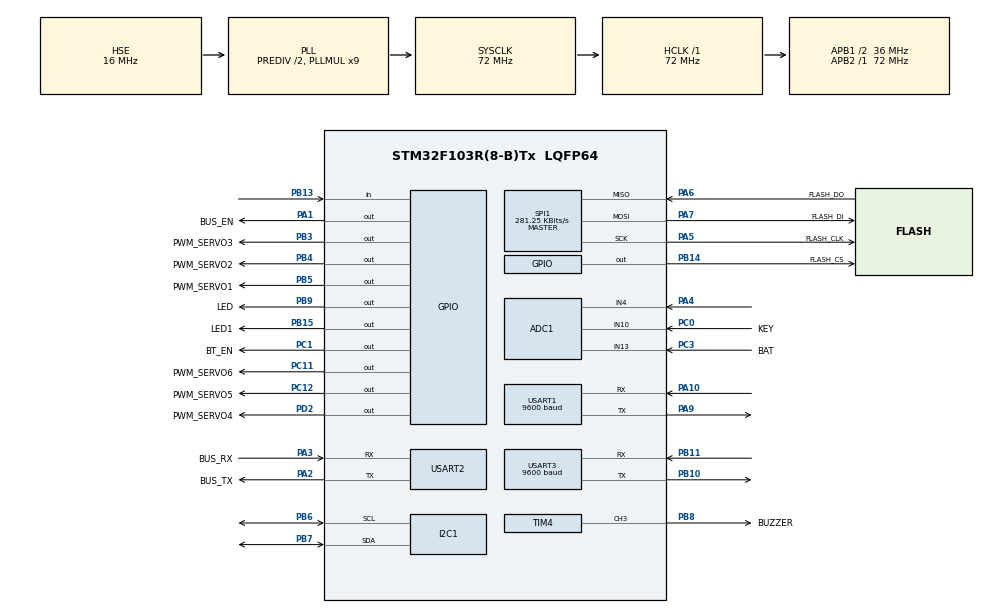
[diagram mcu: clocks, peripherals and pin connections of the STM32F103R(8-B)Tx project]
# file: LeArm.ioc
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ADC1.Channel-0\#ChannelRegularConversion=ADC_CHANNEL_13
ADC1.Channel-1\#ChannelRegularConversion=ADC_CHANNEL_10
ADC1.Channel-2\#ChannelRegularConversion=ADC_CHANNEL_4
ADC1.ContinuousConvMode=DISABLE
ADC1.DataAlign=ADC_DATAALIGN_RIGHT
ADC1.NbrOfConversion=3
ADC1.NbrOfConversionFlag=1
ADC1.Rank-0\#ChannelRegularConversion=1
ADC1.Rank-1\#ChannelRegularConversion=2
ADC1.Rank-2\#ChannelRegularConversion=3
ADC1.SamplingTime-0\#ChannelRegularConversion=ADC_SAMPLETIME_239CYCLES_5
ADC1.SamplingTime-1\#ChannelRegularConversion=ADC_SAMPLETIME_239CYCLES_5
ADC1.SamplingTime-2\#ChannelRegularConversion=ADC_SAMPLETIME_239CYCLES_5
ADC1.master=1
Dma.ADC1.1.Direction=DMA_PERIPH_TO_MEMORY
Dma.ADC1.1.Instance=DMA1_Channel1
Dma.ADC1.1.MemDataAlignment=DMA_MDATAALIGN_HALFWORD
Dma.ADC1.1.MemInc=DMA_MINC_ENABLE
Dma.ADC1.1.Mode=DMA_CIRCULAR
Dma.ADC1.1.PeriphDataAlignment=DMA_PDATAALIGN_HALFWORD
Dma.ADC1.1.PeriphInc=DMA_PINC_DISABLE
Dma.ADC1.1.Priority=DMA_PRIORITY_LOW
Dma.I2C1_RX.2.Direction=DMA_PERIPH_TO_MEMORY
Dma.I2C1_RX.2.Instance=DMA1_Channel7
Dma.I2C1_RX.2.MemDataAlignment=DMA_MDATAALIGN_BYTE
Dma.I2C1_RX.2.MemInc=DMA_MINC_ENABLE
Dma.I2C1_RX.2.Mode=DMA_NORMAL
Dma.I2C1_RX.2.PeriphDataAlignment=DMA_PDATAALIGN_BYTE
Dma.I2C1_RX.2.PeriphInc=DMA_PINC_DISABLE
Dma.I2C1_RX.2.Priority=DMA_PRIORITY_VERY_HIGH
Dma.Request0=USART1_RX
Dma.Request1=ADC1
Dma.Request2=I2C1_RX
Dma.Request3=USART3_RX
Dma.USART1_RX.0.Direction=DMA_PERIPH_TO_MEMORY
Dma.USART1_RX.0.Instance=DMA1_Channel5
Dma.USART1_RX.0.MemDataAlignment=DMA_MDATAALIGN_BYTE
Dma.USART1_RX.0.MemInc=DMA_MINC_ENABLE
Dma.USART1_RX.0.Mode=DMA_NORMAL
Dma.USART1_RX.0.PeriphDataAlignment=DMA_PDATAALIGN_BYTE
Dma.USART1_RX.0.PeriphInc=DMA_PINC_DISABLE
Dma.USART1_RX.0.Priority=DMA_PRIORITY_LOW
Dma.USART3_RX.3.Direction=DMA_PERIPH_TO_MEMORY
Dma.USART3_RX.3.Instance=DMA1_Channel3
Dma.USART3_RX.3.MemDataAlignment=DMA_MDATAALIGN_BYTE
Dma.USART3_RX.3.MemInc=DMA_MINC_ENABLE
Dma.USART3_RX.3.Mode=DMA_NORMAL
Dma.USART3_RX.3.PeriphDataAlignment=DMA_PDATAALIGN_BYTE
Dma.USART3_RX.3.PeriphInc=DMA_PINC_DISABLE
Dma.USART3_RX.3.Priority=DMA_PRIORITY_LOW
I2C1.I2C_Mode=I2C_Standard
Mcu.Family=STM32F1
Mcu.Name=STM32F103R(8-B)Tx
Mcu.Package=LQFP64
NVIC.DMA1_Channel1_IRQn=true\:0\:0\:false\:false\:true\:false\:true\:true
NVIC.DMA1_Channel3_IRQn=true\:0\:0\:false\:false\:true\:false\:true\:true
NVIC.DMA1_Channel5_IRQn=true\:0\:0\:false\:false\:true\:false\:true\:true
NVIC.DMA1_Channel7_IRQn=true\:0\:0\:false\:true\:true\:4\:false\:true\:true
NVIC.I2C1_EV_IRQn=true\:0\:0\:false\:false\:true\:true\:true\:true
NVIC.PriorityGroup=NVIC_PRIORITYGROUP_4
NVIC.TIM3_IRQn=true\:0\:0\:true\:false\:true\:true\:false\:true
NVIC.USART1_IRQn=true\:3\:0\:true\:true\:true\:1\:true\:true\:true
NVIC.USART2_IRQn=true\:2\:0\:true\:true\:true\:2\:true\:false\:true
NVIC.USART3_IRQn=true\:1\:0\:true\:true\:true\:3\:true\:true\:true
PA1.GPIO_Label=BUS_EN
PA1.GPIO_Speed=GPIO_SPEED_FREQ_HIGH
PA1.PinState=GPIO_PIN_SET
PA1.Signal=GPIO_Output
PA10.Mode=Asynchronous
PA10.Signal=USART1_RX
PA13.Mode=Serial_Wire
PA13.Signal=SYS_JTMS-SWDIO
PA14.Mode=Serial_Wire
PA14.Signal=SYS_JTCK-SWCLK
PA2.GPIO_Label=BUS_TX
PA2.Mode=Asynchronous
PA2.Signal=USART2_TX
PA3.GPIO_Label=BUS_RX
PA3.Mode=Asynchronous
PA3.Signal=USART2_RX
PA4.Signal=ADCx_IN4
PA5.GPIO_Label=FLASH_CLK
PA5.GPIO_Speed=GPIO_SPEED_FREQ_HIGH
PA5.Mode=Full_Duplex_Master
PA5.Signal=SPI1_SCK
PA6.GPIO_Label=FLASH_DO
PA6.GPIO_PuPd=GPIO_NOPULL
PA6.Mode=Full_Duplex_Master
PA6.Signal=SPI1_MISO
PA7.GPIO_Label=FLASH_DI
PA7.GPIO_Speed=GPIO_SPEED_FREQ_HIGH
PA7.Mode=Full_Duplex_Master
PA7.Signal=SPI1_MOSI
PA9.Mode=Asynchronous
PA9.Signal=USART1_TX
PB10.Mode=Asynchronous
PB10.Signal=USART3_TX
PB11.Mode=Asynchronous
PB11.Signal=USART3_RX
PB13.Signal=GPIO_Input
PB14.GPIO_Label=FLASH_CS
PB14.GPIO_PuPd=GPIO_PULLUP
PB14.GPIO_Speed=GPIO_SPEED_FREQ_LOW
PB14.PinState=GPIO_PIN_SET
PB14.Signal=GPIO_Output
PB15.GPIO_Label=LED1
PB15.PinState=GPIO_PIN_SET
PB15.Signal=GPIO_Output
PB3.GPIO_Label=PWM_SERVO3
PB3.GPIO_Speed=GPIO_SPEED_FREQ_HIGH
PB3.Signal=GPIO_Output
PB4.GPIO_Label=PWM_SERVO2
PB4.GPIO_Speed=GPIO_SPEED_FREQ_HIGH
PB4.Signal=GPIO_Output
PB5.GPIO_Label=PWM_SERVO1
PB5.GPIO_Speed=GPIO_SPEED_FREQ_HIGH
PB5.Signal=GPIO_Output
PB6.Mode=I2C
PB6.Signal=I2C1_SCL
PB7.Mode=I2C
PB7.Signal=I2C1_SDA
PB8.GPIO_Label=BUZZER
PB8.Signal=S_TIM4_CH3
PB9.GPIO_Label=LED
PB9.GPIO_ModeDefaultOutputPP=GPIO_MODE_OUTPUT_PP
PB9.GPIO_PuPd=GPIO_PULLUP
PB9.PinState=GPIO_PIN_SET
PB9.Signal=GPIO_Output
PC0.GPIO_Label=KEY
PC0.Signal=ADCx_IN10
PC1.GPIO_Label=BT_EN
PC1.GPIO_ModeDefaultOutputPP=GPIO_MODE_OUTPUT_PP
PC1.GPIO_PuPd=GPIO_NOPULL
PC1.GPIO_Speed=GPIO_SPEED_FREQ_LOW
PC1.PinState=GPIO_PIN_SET
PC1.Signal=GPIO_Output
PC11.GPIO_Label=PWM_SERVO6
PC11.GPIO_Speed=GPIO_SPEED_FREQ_HIGH
PC11.Signal=GPIO_Output
PC12.GPIO_Label=PWM_SERVO5
PC12.GPIO_Speed=GPIO_SPEED_FREQ_HIGH
PC12.Signal=GPIO_Output
PC3.GPIO_Label=BAT
PC3.Signal=ADCx_IN13
PD0-OSC_IN.Mode=HSE-External-Oscillator
PD0-OSC_IN.Signal=RCC_OSC_IN
PD1-OSC_OUT.Mode=HSE-External-Oscillator
PD1-OSC_OUT.Signal=RCC_OSC_OUT
PD2.GPIO_Label=PWM_SERVO4
PD2.GPIO_Speed=GPIO_SPEED_FREQ_HIGH
PD2.Signal=GPIO_Output
ProjectManager.HeapSize=0x200
ProjectManager.StackSize=0x400
ProjectManager.TargetToolchain=MDK-ARM V5.32
RCC.ADCPresc=RCC_ADCPCLK2_DIV6
RCC.AHBFreq_Value=72000000
RCC.APB1CLKDivider=RCC_HCLK_DIV2
RCC.APB1Freq_Value=36000000
RCC.APB1TimFreq_Value=72000000
RCC.APB2Freq_Value=72000000
RCC.APB2TimFreq_Value=72000000
RCC.HCLKFreq_Value=72000000
RCC.HSEDivPLL=RCC_HSE_PREDIV_DIV2
RCC.HSE_VALUE=16000000
RCC.PLLMUL=RCC_PLL_MUL9
RCC.PLLSourceVirtual=RCC_PLLSOURCE_HSE
RCC.SYSCLKFreq_VALUE=72000000
RCC.SYSCLKSource=RCC_SYSCLKSOURCE_PLLCLK
RCC.USBFreq_Value=72000000
SH.ADCx_IN10.0=ADC1_IN10,IN10
SH.ADCx_IN13.0=ADC1_IN13,IN13
SH.ADCx_IN4.0=ADC1_IN4,IN4
SH.S_TIM4_CH3.0=TIM4_CH3,PWM Generation3 CH3
SPI1.BaudRatePrescaler=SPI_BAUDRATEPRESCALER_256
SPI1.CLKPhase=SPI_PHASE_1EDGE
SPI1.CLKPolarity=SPI_POLARITY_LOW
SPI1.CRCCalculation=SPI_CRCCALCULATION_DISABLE
SPI1.CalculateBaudRate=281.25 KBits/s
SPI1.Direction=SPI_DIRECTION_2LINES
SPI1.Mode=SPI_MODE_MASTER
SPI1.VirtualType=VM_MASTER
TIM3.AutoReloadPreload=TIM_AUTORELOAD_PRELOAD_ENABLE
TIM3.Channel-Output\ Compare1\ No\ Output=TIM_CHANNEL_1
TIM3.Channel-Output\ Compare2\ No\ Output=TIM_CHANNEL_2
TIM3.OC1Preload=DISABLE
TIM3.OCMode_1=TIM_OCMODE_TIMING
TIM3.Period=4999
TIM3.Prescaler=71
TIM3.Pulse-Output\ Compare1\ No\ Output=0
TIM4.AutoReloadPreload=TIM_AUTORELOAD_PRELOAD_ENABLE
TIM4.Channel-PWM\ Generation3\ CH3=TIM_CHANNEL_3
TIM4.Period=4999
TIM4.Prescaler=71
USART1.BaudRate=9600
USART1.VirtualMode=VM_ASYNC
USART2.VirtualMode=VM_ASYNC
USART3.BaudRate=9600
USART3.Mode=MODE_RX
USART3.VirtualMode=VM_ASYNC
VP_TIM3_VS_ClockSourceINT.Mode=Internal
VP_TIM3_VS_no_output1.Mode=Output Compare1 No Output
VP_TIM3_VS_no_output2.Mode=Output Compare2 No Output
board=custom

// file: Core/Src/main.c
/* USER CODE BEGIN Header */
/**
 ******************************************************************************
 * @file           : main.c
 * @brief          : Main program body
 ******************************************************************************
 * @attention
 *
 * Copyright (c) 2024 STMicroelectronics.
 * All rights reserved.
 *
 * in the root directory of this software component.
 * If no LICENSE file comes with this software, it is provided AS-IS.
 *
 ******************************************************************************
 */
/* USER CODE END Header */
#include "main.h"

#include "adc.h"
#include "dma.h"
#include "gpio.h"
#include "i2c.h"
#include "spi.h"
#include "tim.h"
#include "usart.h"

/* USER CODE BEGIN Includes */

#include "adc_sample.h"
#include "app_porting.h"
#include "buzzer.h"
#include "global.h"
#include "led.h"
#include "qmi8658.h"
#include "stdio.h"
#include "stdlib.h"

/* USER CODE END Includes */

/* USER CODE BEGIN PV */
uint8_t arm_select;
/* USER CODE END PV */

void SystemClock_Config(void);
static void MX_NVIC_Init(void);

/* USER CODE BEGIN 0 */
int fputc(int ch, FILE* f) {
    /* 采用轮询方式发鿿1字节数据，超时时间设置为无限等待 */
    HAL_UART_Transmit(&huart1, (uint8_t*)&ch, 1, HAL_MAX_DELAY);
    return ch;
}

/* USER CODE END 0 */

int main(void) {

    /* MCU Configuration--------------------------------------------------------*/

    /* Reset of all peripherals, Initializes the Flash interface and the Systick. */
    HAL_Init();

    /* Configure the system clock */
    SystemClock_Config();

    /* USER CODE BEGIN SysInit */
    __HAL_RCC_I2C1_CLK_ENABLE();
    __HAL_RCC_DMA1_CLK_ENABLE();
    /* USER CODE END SysInit */

    /* Initialize all configured peripherals */
    MX_GPIO_Init();
    MX_DMA_Init();
    MX_TIM3_Init();
    MX_USART3_UART_Init();
    MX_SPI1_Init();
    MX_USART1_UART_Init();
    MX_ADC1_Init();
    MX_I2C1_Init();
    MX_TIM4_Init();
    MX_USART2_UART_Init();

    /* Initialize interrupts */
    MX_NVIC_Init();
    /* USER CODE BEGIN 2 */
    led_init();
    buzzer_init();
    adc_sample_init();
    HAL_Delay(1000);
    robot_arm_init();
    app_init();
#ifdef MECANUM_CHASSIS
    mecanum_chassis_init();
#endif

#ifdef DIFFERENTIAL_CHASSIS
    differential_chassis_init();
#endif

    /* USER CODE END 2 */
    /* Infinite loop */
    /* USER CODE BEGIN WHILE */

    while (1) {
        /* USER CODE BEGIN 3 */
        app_handler();
        /* USER CODE END 3 */
    }
    /* USER CODE END WHILE */
}

void SystemClock_Config(void) {
    RCC_OscInitTypeDef RCC_OscInitStruct = {0};
    RCC_ClkInitTypeDef RCC_ClkInitStruct = {0};
    RCC_PeriphCLKInitTypeDef PeriphClkInit = {0};

    /** Initializes the RCC Oscillators according to the specified parameters
     * in the RCC_OscInitTypeDef structure.
     */
    RCC_OscInitStruct.OscillatorType = RCC_OSCILLATORTYPE_HSE;
    RCC_OscInitStruct.HSEState = RCC_HSE_ON;
    RCC_OscInitStruct.HSEPredivValue = RCC_HSE_PREDIV_DIV2;
    RCC_OscInitStruct.HSIState = RCC_HSI_ON;
    RCC_OscInitStruct.PLL.PLLState = RCC_PLL_ON;
    RCC_OscInitStruct.PLL.PLLSource = RCC_PLLSOURCE_HSE;
    RCC_OscInitStruct.PLL.PLLMUL = RCC_PLL_MUL9;
    if (HAL_RCC_OscConfig(&RCC_OscInitStruct) != HAL_OK) {
        Error_Handler();
    }

    /** Initializes the CPU, AHB and APB buses clocks
     */
    RCC_ClkInitStruct.ClockType = RCC_CLOCKTYPE_HCLK | RCC_CLOCKTYPE_SYSCLK | RCC_CLOCKTYPE_PCLK1 | RCC_CLOCKTYPE_PCLK2;
    RCC_ClkInitStruct.SYSCLKSource = RCC_SYSCLKSOURCE_PLLCLK;
    RCC_ClkInitStruct.AHBCLKDivider = RCC_SYSCLK_DIV1;
    RCC_ClkInitStruct.APB1CLKDivider = RCC_HCLK_DIV2;
    RCC_ClkInitStruct.APB2CLKDivider = RCC_HCLK_DIV1;

    if (HAL_RCC_ClockConfig(&RCC_ClkInitStruct, FLASH_LATENCY_2) != HAL_OK) {
        Error_Handler();
    }
    PeriphClkInit.PeriphClockSelection = RCC_PERIPHCLK_ADC;
    PeriphClkInit.AdcClockSelection = RCC_ADCPCLK2_DIV6;
    if (HAL_RCCEx_PeriphCLKConfig(&PeriphClkInit) != HAL_OK) {
        Error_Handler();
    }
}

/**
 * @brief NVIC Configuration.
 * @retval None
 */
static void MX_NVIC_Init(void) {
    /* USART1_IRQn interrupt configuration */
    HAL_NVIC_SetPriority(USART1_IRQn, 3, 0);
    HAL_NVIC_EnableIRQ(USART1_IRQn);
    /* USART2_IRQn interrupt configuration */
    HAL_NVIC_SetPriority(USART2_IRQn, 2, 0);
    HAL_NVIC_EnableIRQ(USART2_IRQn);
    /* USART3_IRQn interrupt configuration */
    HAL_NVIC_SetPriority(USART3_IRQn, 1, 0);
    HAL_NVIC_EnableIRQ(USART3_IRQn);
    /* DMA1_Channel7_IRQn interrupt configuration */
    HAL_NVIC_SetPriority(DMA1_Channel7_IRQn, 0, 0);
    HAL_NVIC_EnableIRQ(DMA1_Channel7_IRQn);
}

void Error_Handler(void) {
    __disable_irq();
    while (1) {
    }
}
